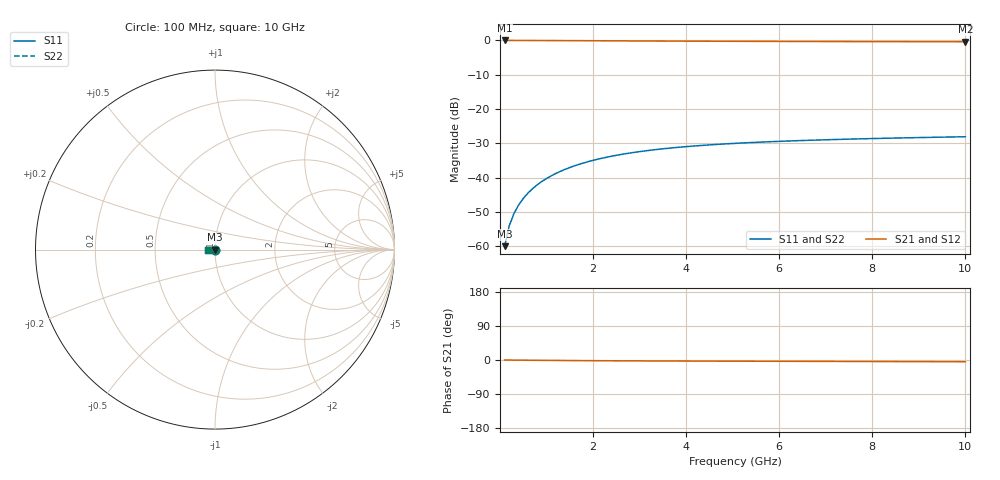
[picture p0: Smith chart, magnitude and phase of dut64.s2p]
! Touchstone file exported from HFSS 2024.1.0
!  File:  C:/UserFiles/LocalFiles/RDL_TSV_Batchsim/temp_TSV1_64_1779373265.aedt
!  Generated:  10:27:58 PM May 21, 2026
!  Design:  TSV1
!  Project:  temp_TSV1_64_1779373265
!  Setup:  Setup1
!  Solution:  Sweep
! Variables:
!  dtsv = 9.04um
!  hbump = 3um
!  htsv = 70.09um
!  lrdl = 252.1521522um
!  p = 40
!  p1 = 43.59um
!  t = 500um
!  trdl = 3um
!  wrdl = 24.89489489um
# GHz S MA R 50.000000
! Terminal data exported
! Port[1] = TSV22_T1
! Port[2] = TSV22_T2
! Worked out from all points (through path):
!   100 points, 100 MHz to 10 GHz, reference 50 ohm
!   highest |S21| = 0.00 dB at 100 MHz (marker M1); lowest = -0.4 dB at 10 GHz (marker M2)
!   lowest |S11| = -59.9 dB at 100 MHz (marker M3), VSWR 1.00, Z = 50 - j0.0997 ohm
!   |S11| at or under -10 dB: start of sweep to end of sweep
!   |S22| runs from -59.9 to -28.1 dB; largest |S21 - S12| = 4e-15
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0.1  0.001006 -82.2  0.9998 -0.1  0.9998 -0.1  0.001006 -82.2
! Gamma 0 0 0 0
! Port Impedance 50 0 50 0
0.2  0.001999 -88.3  0.9997 -0.2  0.9997 -0.2  0.001999 -88.3
0.3  0.002996 -91.5  0.9995 -0.3  0.9995 -0.3  0.002996 -91.5
0.4  0.00399 -93.9  0.9993 -0.4  0.9993 -0.4  0.00399 -93.9
0.5  0.004977 -96.1  0.9991 -0.5  0.9991 -0.5  0.004977 -96.1
0.6  0.005955 -98.0  0.9987 -0.6  0.9987 -0.6  0.005955 -98.0
0.7  0.006921 -99.9  0.9984 -0.7  0.9984 -0.7  0.006921 -99.9
0.8  0.007874 -101.7  0.998 -0.8  0.998 -0.8  0.007874 -101.7
0.9  0.008812 -103.4  0.9975 -0.9  0.9975 -0.9  0.008812 -103.4
1.1  0.01064 -106.8  0.9965 -1.1  0.9965 -1.1  0.01064 -106.8
1.4  0.01325 -111.5  0.9947 -1.3  0.9947 -1.3  0.01325 -111.5
1.6  0.01488 -114.6  0.9933 -1.5  0.9933 -1.5  0.01488 -114.6
1.8  0.01644 -117.4  0.9919 -1.6  0.9919 -1.6  0.01644 -117.4
2.1  0.01861 -121.6  0.9898 -1.8  0.9898 -1.8  0.01861 -121.6
2.5  0.0212 -126.7  0.9868 -2.1  0.9868 -2.1  0.0212 -126.7
2.9  0.02348 -131.4  0.984 -2.3  0.984 -2.3  0.02348 -131.4
3.4  0.02593 -136.7  0.9806 -2.5  0.9806 -2.5  0.02593 -136.7
4.2  0.02908 -144.2  0.9758 -2.8  0.9758 -2.8  0.02908 -144.2
5.1  0.03179 -151.3  0.9714 -3.1  0.9714 -3.1  0.03179 -151.3
6.7  0.03521 -161.5  0.9657 -3.6  0.9657 -3.6  0.03521 -161.5
8.4  0.03772 -170.1  0.9615 -4.1  0.9615 -4.1  0.03772 -170.1
10  0.03954 -176.9  0.9588 -4.5  0.9588 -4.5  0.03954 -176.9
